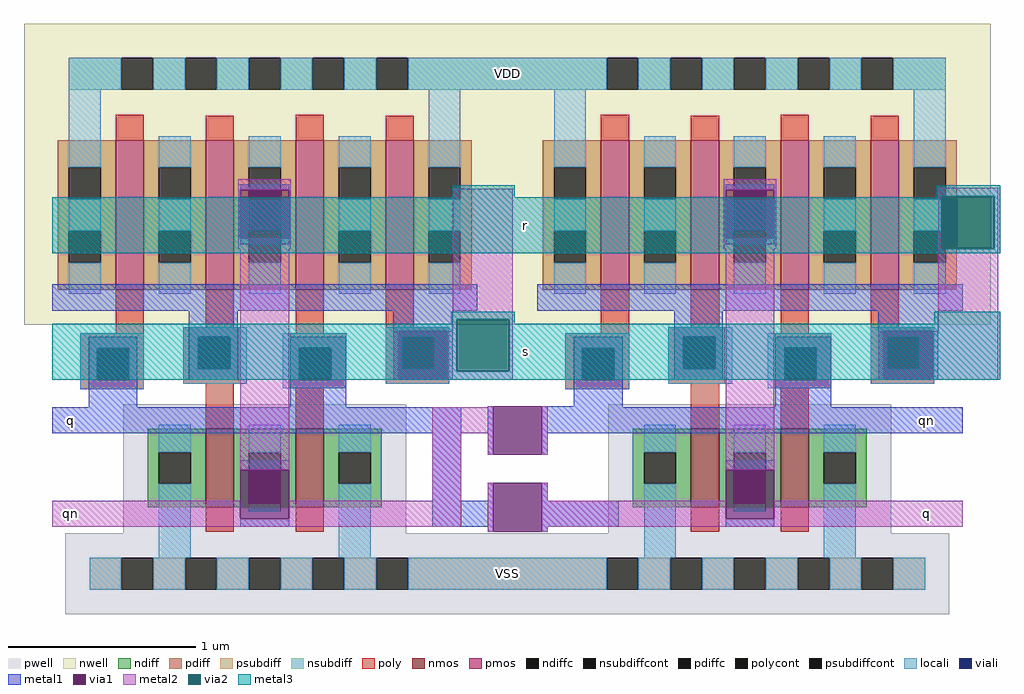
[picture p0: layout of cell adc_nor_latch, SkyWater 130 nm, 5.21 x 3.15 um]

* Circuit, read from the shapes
.subckt adc_nor_latch qn q VDD VSS s r
XM1 qn s VSS VSS sky130_fd_pr__nfet_01v8 w=0.42 l=0.15
XM2 VSS q qn VSS sky130_fd_pr__nfet_01v8 w=0.42 l=0.15
XM3 q r VSS VSS sky130_fd_pr__nfet_01v8 w=0.42 l=0.15
XM4 VSS qn q VSS sky130_fd_pr__nfet_01v8 w=0.42 l=0.15
XM5 n1 q VDD VDD sky130_fd_pr__pfet_01v8 w=0.8 l=0.15
XM6 qn s n1 VDD sky130_fd_pr__pfet_01v8 w=0.8 l=0.15
XM7 n2 q qn VDD sky130_fd_pr__pfet_01v8 w=0.8 l=0.15
XM8 VDD s n2 VDD sky130_fd_pr__pfet_01v8 w=0.8 l=0.15
XM9 n3 qn VDD VDD sky130_fd_pr__pfet_01v8 w=0.8 l=0.15
XM10 q r n3 VDD sky130_fd_pr__pfet_01v8 w=0.8 l=0.15
XM11 n4 qn q VDD sky130_fd_pr__pfet_01v8 w=0.8 l=0.15
XM12 VDD r n4 VDD sky130_fd_pr__pfet_01v8 w=0.8 l=0.15
.ends

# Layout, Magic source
magic
tech sky130A
magscale 1 2
<< nwell >>
rect 160 493 1192 814
<< pwell >>
rect 266 270 568 408
rect 784 270 1086 408
rect 204 184 1148 270
<< nmos >>
rect 354 298 384 382
rect 450 298 480 382
rect 872 298 902 382
rect 968 298 998 382
<< pmos >>
rect 258 530 288 690
rect 354 530 384 690
rect 450 530 480 690
rect 546 530 576 690
rect 776 530 806 690
rect 872 530 902 690
rect 968 530 998 690
rect 1064 530 1094 690
<< ndiff >>
rect 292 357 354 382
rect 292 323 304 357
rect 338 323 354 357
rect 292 298 354 323
rect 384 357 450 382
rect 384 323 400 357
rect 434 323 450 357
rect 384 298 450 323
rect 480 357 542 382
rect 480 323 496 357
rect 530 323 542 357
rect 480 298 542 323
rect 810 357 872 382
rect 810 323 822 357
rect 856 323 872 357
rect 810 298 872 323
rect 902 357 968 382
rect 902 323 918 357
rect 952 323 968 357
rect 902 298 968 323
rect 998 357 1060 382
rect 998 323 1014 357
rect 1048 323 1060 357
rect 998 298 1060 323
<< pdiff >>
rect 196 661 258 690
rect 196 627 208 661
rect 242 627 258 661
rect 196 593 258 627
rect 196 559 208 593
rect 242 559 258 593
rect 196 530 258 559
rect 288 661 354 690
rect 288 627 304 661
rect 338 627 354 661
rect 288 593 354 627
rect 288 559 304 593
rect 338 559 354 593
rect 288 530 354 559
rect 384 661 450 690
rect 384 627 400 661
rect 434 627 450 661
rect 384 593 450 627
rect 384 559 400 593
rect 434 559 450 593
rect 384 530 450 559
rect 480 661 546 690
rect 480 627 496 661
rect 530 627 546 661
rect 480 593 546 627
rect 480 559 496 593
rect 530 559 546 593
rect 480 530 546 559
rect 576 661 638 690
rect 576 627 592 661
rect 626 627 638 661
rect 576 593 638 627
rect 576 559 592 593
rect 626 559 638 593
rect 576 530 638 559
rect 714 661 776 690
rect 714 627 726 661
rect 760 627 776 661
rect 714 593 776 627
rect 714 559 726 593
rect 760 559 776 593
rect 714 530 776 559
rect 806 661 872 690
rect 806 627 822 661
rect 856 627 872 661
rect 806 593 872 627
rect 806 559 822 593
rect 856 559 872 593
rect 806 530 872 559
rect 902 661 968 690
rect 902 627 918 661
rect 952 627 968 661
rect 902 593 968 627
rect 902 559 918 593
rect 952 559 968 593
rect 902 530 968 559
rect 998 661 1064 690
rect 998 627 1014 661
rect 1048 627 1064 661
rect 998 593 1064 627
rect 998 559 1014 593
rect 1048 559 1064 593
rect 998 530 1064 559
rect 1094 661 1156 690
rect 1094 627 1110 661
rect 1144 627 1156 661
rect 1094 593 1156 627
rect 1094 559 1110 593
rect 1144 559 1156 593
rect 1094 530 1156 559
<< ndiffc >>
rect 304 323 338 357
rect 400 323 434 357
rect 496 323 530 357
rect 822 323 856 357
rect 918 323 952 357
rect 1014 323 1048 357
<< pdiffc >>
rect 208 627 242 661
rect 208 559 242 593
rect 304 627 338 661
rect 304 559 338 593
rect 400 627 434 661
rect 400 559 434 593
rect 496 627 530 661
rect 496 559 530 593
rect 592 627 626 661
rect 592 559 626 593
rect 726 627 760 661
rect 726 559 760 593
rect 822 627 856 661
rect 822 559 856 593
rect 918 627 952 661
rect 918 559 952 593
rect 1014 627 1048 661
rect 1014 559 1048 593
rect 1110 627 1144 661
rect 1110 559 1144 593
<< psubdiff >>
rect 230 210 264 244
rect 298 210 332 244
rect 366 210 400 244
rect 434 210 468 244
rect 502 210 536 244
rect 570 210 782 244
rect 816 210 850 244
rect 884 210 918 244
rect 952 210 986 244
rect 1020 210 1054 244
rect 1088 210 1122 244
<< nsubdiff >>
rect 208 744 264 778
rect 298 744 332 778
rect 366 744 400 778
rect 434 744 468 778
rect 502 744 536 778
rect 570 744 782 778
rect 816 744 850 778
rect 884 744 918 778
rect 952 744 986 778
rect 1020 744 1054 778
rect 1088 744 1144 778
<< psubdiffcont >>
rect 264 210 298 244
rect 332 210 366 244
rect 400 210 434 244
rect 468 210 502 244
rect 536 210 570 244
rect 782 210 816 244
rect 850 210 884 244
rect 918 210 952 244
rect 986 210 1020 244
rect 1054 210 1088 244
<< nsubdiffcont >>
rect 264 744 298 778
rect 332 744 366 778
rect 400 744 434 778
rect 468 744 502 778
rect 536 744 570 778
rect 782 744 816 778
rect 850 744 884 778
rect 918 744 952 778
rect 986 744 1020 778
rect 1054 744 1088 778
<< poly >>
rect 258 690 288 717
rect 354 690 384 716
rect 450 690 480 717
rect 546 690 576 716
rect 776 690 806 717
rect 872 690 902 716
rect 968 690 998 717
rect 1064 690 1094 716
rect 258 484 288 530
rect 354 490 384 530
rect 220 468 288 484
rect 220 434 238 468
rect 272 434 288 468
rect 220 424 288 434
rect 330 480 390 490
rect 450 484 480 530
rect 546 490 576 530
rect 330 446 346 480
rect 380 446 390 480
rect 330 430 390 446
rect 444 469 504 484
rect 444 435 454 469
rect 488 435 504 469
rect 354 382 384 430
rect 444 425 504 435
rect 546 480 614 490
rect 776 484 806 530
rect 872 490 902 530
rect 546 446 564 480
rect 598 446 614 480
rect 546 430 614 446
rect 738 468 806 484
rect 738 434 756 468
rect 790 434 806 468
rect 450 382 480 425
rect 738 424 806 434
rect 848 480 908 490
rect 968 484 998 530
rect 1064 490 1094 530
rect 848 446 864 480
rect 898 446 908 480
rect 848 430 908 446
rect 962 469 1022 484
rect 962 435 972 469
rect 1006 435 1022 469
rect 872 382 902 430
rect 962 425 1022 435
rect 1064 480 1132 490
rect 1064 446 1082 480
rect 1116 446 1132 480
rect 1064 430 1132 446
rect 968 382 998 425
rect 354 272 384 298
rect 450 272 480 298
rect 872 272 902 298
rect 968 272 998 298
<< polycont >>
rect 238 434 272 468
rect 346 446 380 480
rect 454 435 488 469
rect 564 446 598 480
rect 756 434 790 468
rect 864 446 898 480
rect 972 435 1006 469
rect 1082 446 1116 480
<< locali >>
rect 208 744 264 778
rect 298 744 332 778
rect 366 744 400 778
rect 434 744 468 778
rect 502 744 536 778
rect 570 744 782 778
rect 816 744 850 778
rect 884 744 918 778
rect 952 744 986 778
rect 1020 744 1054 778
rect 1088 744 1144 778
rect 208 661 242 744
rect 208 593 242 627
rect 208 526 242 559
rect 304 661 338 694
rect 304 593 338 627
rect 304 526 338 559
rect 400 661 434 694
rect 400 593 434 594
rect 400 526 434 559
rect 496 661 530 694
rect 496 593 530 627
rect 496 526 530 559
rect 592 661 626 744
rect 592 593 626 627
rect 592 526 626 559
rect 726 661 760 744
rect 726 593 760 627
rect 726 526 760 559
rect 822 661 856 694
rect 822 593 856 627
rect 822 526 856 559
rect 918 661 952 694
rect 918 593 952 594
rect 918 526 952 559
rect 1014 661 1048 694
rect 1014 593 1048 627
rect 1014 526 1048 559
rect 1110 661 1144 744
rect 1110 593 1144 627
rect 1110 526 1144 559
rect 220 468 288 484
rect 220 434 238 468
rect 272 434 288 468
rect 220 424 288 434
rect 330 480 398 490
rect 330 446 346 480
rect 380 446 398 480
rect 330 430 398 446
rect 436 469 504 484
rect 436 434 454 469
rect 488 434 504 469
rect 436 425 504 434
rect 546 480 614 490
rect 546 446 564 480
rect 598 446 614 480
rect 546 430 614 446
rect 738 468 806 484
rect 738 434 756 468
rect 790 434 806 468
rect 738 424 806 434
rect 848 480 916 490
rect 848 446 864 480
rect 898 446 916 480
rect 848 430 916 446
rect 954 469 1022 484
rect 954 434 972 469
rect 1006 434 1022 469
rect 954 425 1022 434
rect 1064 480 1132 490
rect 1064 446 1082 480
rect 1116 446 1132 480
rect 1064 430 1132 446
rect 304 357 338 386
rect 304 244 338 323
rect 400 357 434 386
rect 400 294 434 302
rect 496 357 530 386
rect 496 244 530 323
rect 822 357 856 386
rect 822 244 856 323
rect 918 357 952 386
rect 918 294 952 302
rect 1014 357 1048 386
rect 1014 244 1048 323
rect 230 210 264 244
rect 298 210 332 244
rect 366 210 400 244
rect 434 210 468 244
rect 502 210 536 244
rect 570 210 782 244
rect 816 210 850 244
rect 884 210 918 244
rect 952 210 986 244
rect 1020 210 1054 244
rect 1088 210 1122 244
<< viali >>
rect 400 627 434 628
rect 400 594 434 627
rect 918 627 952 628
rect 918 594 952 627
rect 238 434 272 468
rect 346 446 380 480
rect 454 435 488 468
rect 454 434 488 435
rect 564 446 598 480
rect 756 434 790 468
rect 864 446 898 480
rect 972 435 1006 468
rect 972 434 1006 435
rect 1082 446 1116 480
rect 400 323 434 336
rect 400 302 434 323
rect 918 323 952 336
rect 918 302 952 323
<< metal1 >>
rect 391 637 443 643
rect 391 579 443 585
rect 909 637 961 643
rect 909 579 961 585
rect 190 508 644 536
rect 708 508 1162 536
rect 336 480 388 508
rect 554 486 618 508
rect 229 468 281 480
rect 229 434 238 468
rect 272 434 281 468
rect 336 446 346 480
rect 380 446 388 480
rect 336 434 388 446
rect 444 468 504 480
rect 444 434 454 468
rect 488 434 504 468
rect 554 434 560 486
rect 612 434 618 486
rect 854 480 906 508
rect 1072 486 1136 508
rect 747 468 799 480
rect 747 434 756 468
rect 790 434 799 468
rect 854 446 864 480
rect 898 446 906 480
rect 854 434 906 446
rect 962 468 1022 480
rect 962 434 972 468
rect 1006 434 1022 468
rect 1072 434 1078 486
rect 1130 434 1136 486
rect 229 405 281 434
rect 444 405 504 434
rect 747 406 799 434
rect 190 377 627 405
rect 391 338 443 348
rect 391 277 443 286
rect 596 305 627 377
rect 655 354 661 406
rect 713 405 799 406
rect 962 405 1022 434
rect 713 377 1162 405
rect 713 354 719 377
rect 909 338 961 348
rect 655 305 661 324
rect 596 277 661 305
rect 655 272 661 277
rect 713 305 719 324
rect 713 277 795 305
rect 909 277 961 286
rect 713 272 719 277
<< via1 >>
rect 391 628 443 637
rect 391 594 400 628
rect 400 594 434 628
rect 434 594 443 628
rect 391 585 443 594
rect 909 628 961 637
rect 909 594 918 628
rect 918 594 952 628
rect 952 594 961 628
rect 909 585 961 594
rect 560 480 612 486
rect 560 446 564 480
rect 564 446 598 480
rect 598 446 612 480
rect 560 434 612 446
rect 1078 480 1130 486
rect 1078 446 1082 480
rect 1082 446 1116 480
rect 1116 446 1130 480
rect 1078 434 1130 446
rect 391 336 443 338
rect 391 302 400 336
rect 400 302 434 336
rect 434 302 443 336
rect 391 286 443 302
rect 661 354 713 406
rect 909 336 961 338
rect 661 272 713 324
rect 909 302 918 336
rect 918 302 952 336
rect 952 302 961 336
rect 909 286 961 302
<< metal2 >>
rect 389 637 445 648
rect 389 585 391 637
rect 443 585 445 637
rect 389 574 445 585
rect 391 338 443 574
rect 618 499 682 638
rect 907 637 963 648
rect 907 585 909 637
rect 961 585 963 637
rect 907 574 963 585
rect 1136 630 1200 639
rect 1136 574 1140 630
rect 1196 574 1200 630
rect 618 486 622 499
rect 554 434 560 486
rect 612 443 622 486
rect 678 443 682 499
rect 612 434 682 443
rect 655 405 661 406
rect 190 286 391 305
rect 596 377 661 405
rect 596 305 627 377
rect 655 354 661 377
rect 713 354 719 406
rect 909 338 961 574
rect 1136 486 1200 574
rect 1072 434 1078 486
rect 1130 434 1200 486
rect 443 286 627 305
rect 190 277 627 286
rect 655 272 661 324
rect 713 305 719 324
rect 713 286 909 305
rect 961 286 1162 305
rect 713 277 1162 286
rect 713 272 719 277
<< via2 >>
rect 1140 574 1196 630
rect 622 443 678 499
<< metal3 >>
rect 618 629 684 642
rect 1134 630 1202 642
rect 1134 629 1140 630
rect 190 574 1140 629
rect 1196 574 1202 630
rect 190 569 1202 574
rect 616 499 684 507
rect 616 494 622 499
rect 190 443 622 494
rect 678 494 684 499
rect 1132 494 1202 507
rect 678 443 1202 494
rect 190 434 1202 443
<< labels >>
flabel metal1 s 1086 377 1162 405 0 FreeSans 200 0 0 0 qn
port 1 nsew
flabel metal1 s 190 377 229 405 0 FreeSans 200 0 0 0 q
port 2 nsew
flabel locali s 208 744 1144 778 0 FreeSans 200 0 0 0 VDD
port 3 nsew
flabel locali s 230 210 1122 244 0 FreeSans 200 0 0 0 VSS
port 4 nsew
flabel metal3 s 190 434 1200 494 0 FreeSans 200 0 0 0 s
port 5 nsew
flabel metal3 s 190 569 1200 629 0 FreeSans 200 0 0 0 r
port 6 nsew
flabel metal2 s 1086 277 1162 305 0 FreeSans 200 0 0 0 q
port 2 nsew
flabel metal2 s 190 277 229 305 0 FreeSans 200 0 0 0 qn
port 1 nsew
<< properties >>
string GDS_END 543512
string GDS_FILE adc_top.gds.gz
string GDS_START 530336
<< end >>
